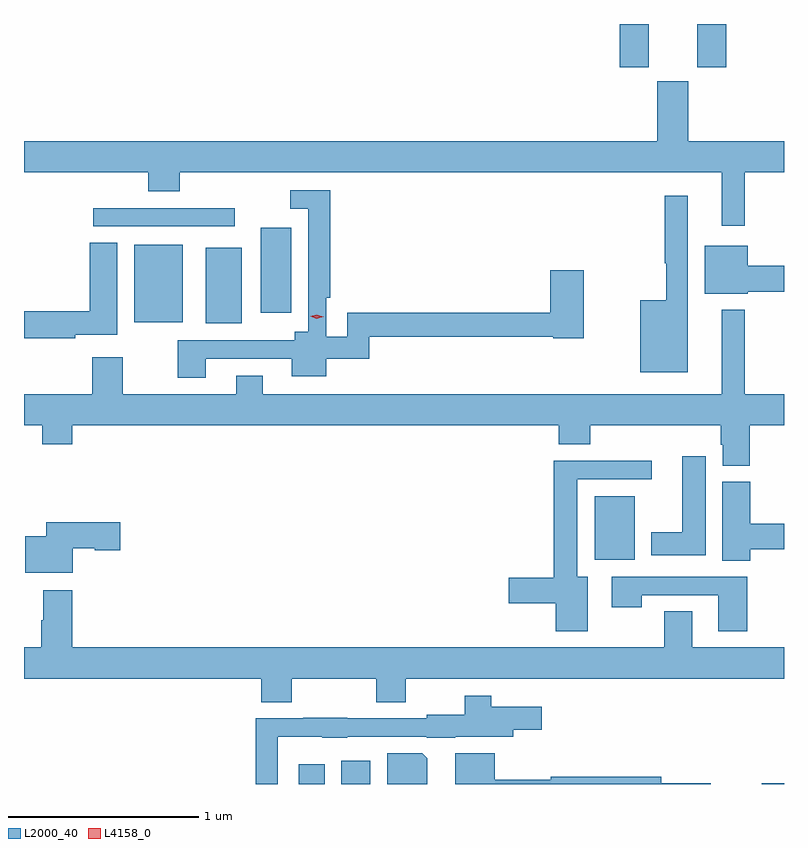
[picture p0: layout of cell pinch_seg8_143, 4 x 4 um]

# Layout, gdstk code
import gdstk
lib = gdstk.Library(unit=1e-6, precision=1e-09)
def R(c, l, rs):  # rectangles x0, y0, x1, y1
    for r in rs: c.add(gdstk.rectangle(r[:2], r[2:], *l))
def P(c, l, *ps):  # polygons
    for p in ps: c.add(gdstk.Polygon(p, *l))
L2000_40 = (2000, 40)
L4158_0 = (4158, 0)

pinch_seg8_143 = lib.new_cell('pinch_seg8_143')
R(pinch_seg8_143, L2000_40, [(760.301,1157.237,760.438,1157.341), (760.526,1157.237,760.678,1157.359), (762.738,1157.237,762.855,1157.24), (761.858,1158.416,762.07,1158.751), (759.812,1159.661,760,1160.059), (759.434,1159.667,759.691,1160.074), (760.1,1159.716,760.261,1160.164), (759.219,1160.172,759.964,1160.268), (761.99,1161.009,762.142,1161.237), (762.398,1161.009,762.551,1161.237)])
P(pinch_seg8_143, L2000_40, [(762.649,1160.456),(762.855,1160.456),(762.855,1160.62),(762.352,1160.62),(762.352,1160.937),(762.188,1160.937),(762.188,1160.62),(758.855,1160.62),(758.855,1160.456),(759.509,1160.456),(759.509,1160.357),(759.674,1160.357),(759.674,1160.456),(762.527,1160.456),(762.527,1160.175),(762.649,1160.175)],
  [(759.811,1159.476),(760.265,1159.476),(760.265,1159.382),(760.447,1159.382),(760.447,1159.475),(760.673,1159.475),(760.673,1159.59),(761.64,1159.59),(761.64,1159.582),(761.802,1159.582),(761.802,1159.942),(761.624,1159.942),(761.624,1159.718),(760.557,1159.718),(760.557,1159.592),(760.446,1159.592),(760.446,1159.795),(760.466,1159.795),(760.466,1160.361),(760.257,1160.361),(760.257,1160.265),(760.35,1160.265),(760.35,1159.618),(760.28,1159.618),(760.28,1159.572),(759.664,1159.572),(759.664,1159.374),(759.811,1159.374)],
  [(762.349,1160.332),(762.228,1160.332),(762.228,1159.979),(762.235,1159.979),(762.235,1159.783),(762.098,1159.783),(762.098,1159.403),(762.349,1159.403)],
  [(759.126,1159.601),(759.346,1159.601),(759.346,1160.087),(759.2,1160.087),(759.2,1159.724),(758.855,1159.724),(758.855,1159.582),(759.126,1159.582)],
  [(762.664,1159.828),(762.855,1159.828),(762.855,1159.964),(762.664,1159.964),(762.664,1160.071),(762.437,1160.071),(762.437,1159.817),(762.664,1159.817)],
  [(762.674,1159.124),(762.855,1159.124),(762.855,1159.288),(762.649,1159.288),(762.649,1159.732),(762.527,1159.732),(762.527,1159.288),(760.111,1159.288),(760.111,1159.387),(759.971,1159.387),(759.971,1159.288),(759.375,1159.288),(759.375,1159.483),(759.215,1159.483),(759.215,1159.288),(758.855,1159.288),(758.855,1159.124),(758.95,1159.124),(758.95,1159.025),(759.11,1159.025),(759.11,1159.124),(761.669,1159.124),(761.669,1159.025),(761.834,1159.025),(761.834,1159.124),(762.521,1159.124),(762.521,1159.023),(762.533,1159.023),(762.533,1158.913),(762.674,1158.913)],
  [(762.442,1158.961),(762.32,1158.961),(762.32,1158.562),(762.155,1158.562),(762.155,1158.44),(762.442,1158.44)],
  [(761.821,1158.328),(761.767,1158.328),(761.767,1158.84),(762.16,1158.84),(762.16,1158.938),(761.642,1158.938),(761.642,1158.323),(761.406,1158.323),(761.406,1158.188),(761.654,1158.188),(761.654,1158.042),(761.821,1158.042)],
  [(762.677,1158.472),(762.855,1158.472),(762.855,1158.608),(762.677,1158.608),(762.677,1158.828),(762.53,1158.828),(762.53,1158.412),(762.677,1158.412)],
  [(759.112,1158.479),(759.228,1158.479),(759.228,1158.467),(759.361,1158.467),(759.361,1158.614),(758.972,1158.614),(758.972,1158.541),(758.861,1158.541),(758.861,1158.35),(759.112,1158.35)],
  [(762.662,1158.327),(761.949,1158.327),(761.949,1158.168),(762.105,1158.168),(762.105,1158.231),(762.509,1158.231),(762.509,1158.042),(762.662,1158.042)],
  [(760.263,1157.792),(760.708,1157.792),(760.708,1157.668),(760.863,1157.668),(760.863,1157.792),(762.855,1157.792),(762.855,1157.956),(762.373,1157.956),(762.373,1158.146),(762.226,1158.146),(762.226,1157.956),(759.11,1157.956),(759.11,1158.256),(758.957,1158.256),(758.957,1158.098),(758.945,1158.098),(758.945,1157.956),(758.855,1157.956),(758.855,1157.792),(760.103,1157.792),(760.103,1157.668),(760.263,1157.668)],
  [(760.191,1157.486),(760.425,1157.486),(760.425,1157.48),(760.557,1157.48),(760.557,1157.487),(760.974,1157.487),(760.974,1157.48),(761.124,1157.48),(761.124,1157.486),(761.431,1157.486),(761.431,1157.522),(761.581,1157.522),(761.581,1157.644),(761.315,1157.644),(761.315,1157.701),(761.175,1157.701),(761.175,1157.602),(760.974,1157.602),(760.974,1157.583),(760.557,1157.583),(760.557,1157.585),(760.325,1157.585),(760.325,1157.583),(760.075,1157.583),(760.075,1157.237),(760.191,1157.237)],
  [(760.978,1157.372),(760.952,1157.398),(760.766,1157.398),(760.766,1157.237),(760.978,1157.237)],
  [(762.469,1157.24),(762.208,1157.24),(762.208,1157.276),(761.628,1157.276),(761.628,1157.259),(761.332,1157.259),(761.332,1157.398),(761.126,1157.398),(761.126,1157.237),(762.469,1157.237)])
P(pinch_seg8_143, L4158_0, [(760.396,1159.687),(760.362,1159.698),(760.362,1159.698),(760.362,1159.698),(760.397,1159.707),(760.431,1159.696),(760.432,1159.696),(760.431,1159.696)])

lib.write_gds('pinch_seg8_143.gds')
